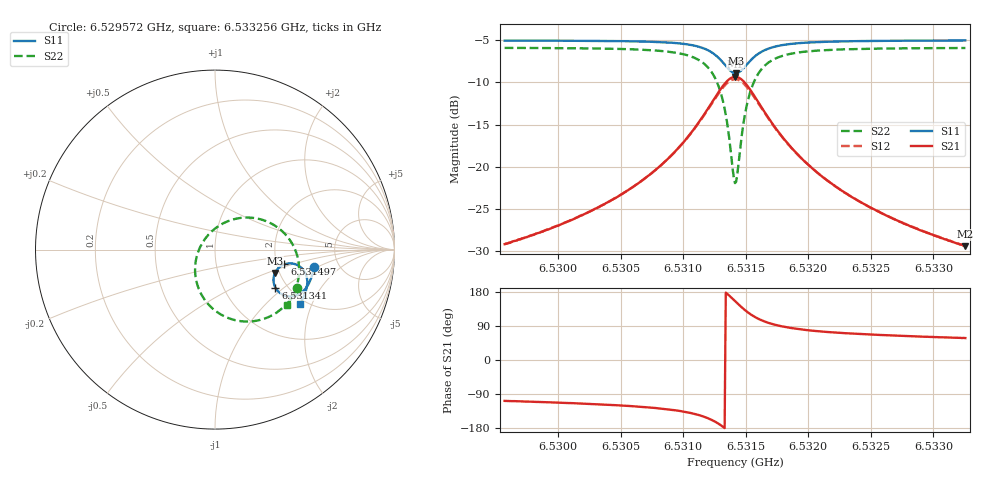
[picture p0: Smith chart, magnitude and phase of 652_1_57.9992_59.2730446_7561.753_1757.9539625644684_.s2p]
#  HZ  S  RI  R  50.00
! Rohde & Schwarz Vector Network Analyzer
! Rohde-Schwarz,ZNB20-2Port,1311601062101988,3.16
! Created: UTC 3/21/2024, 1:19:29 AM
! freq[Hz]  re:S11  im:S11  re:S21  im:S21  re:S12  im:S12  re:S22  im:S22
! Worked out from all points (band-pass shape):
!   401 points, 6.529572 GHz to 6.533256 GHz, reference 50 ohm
!   highest |S21| = -9.33 dB at 6.531414 GHz (marker M1); lowest = -29.5 dB at 6.533256 GHz (marker M2)
!   |S21| within 3 dB of the highest: 6.531232 GHz to 6.5316 GHz (368.4 kHz wide, 0.00564 % of centre)
!   lowest |S11| = -8.9 dB at 6.531424 GHz (marker M3), VSWR 2.12, Z = 94.6 - j28.3 ohm
!   |S11| at or under -10 dB: nowhere
!   |S22| runs from -22.0 to -5.9 dB; largest |S21 - S12| = 0.014
!   S11 on the Smith chart (normalised r, x): 6.529572 GHz: 3.25, -0.94; 6.531341 GHz: 1.74, -0.87; 6.531497 GHz: 2.21, -0.43; 6.533256 GHz: 1.84, -1.64
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6.5295724e9  0.5517 -0.099  -0.0106 -0.0329  -0.0113 -0.0327  0.459 -0.2164
6.5301895e9  0.5383 -0.1514  -0.0216 -0.0465  -0.0228 -0.0461  0.4228 -0.2749
6.530521e9  0.5254 -0.1833  -0.0351 -0.0599  -0.0368 -0.0589  0.3877 -0.3149
6.5308065e9  0.5057 -0.2157  -0.0607 -0.0788  -0.063 -0.077  0.3304 -0.359
6.5310276e9  0.4736 -0.2454  -0.1087 -0.099  -0.1116 -0.0948  0.2348 -0.3956
6.5311841e9  0.4228 -0.2611  -0.1877 -0.1005  -0.1894 -0.0922  0.092 -0.3876
6.5312762e9  0.3724 -0.2487  -0.2652 -0.0622  -0.2625 -0.0509  -0.034 -0.3078
6.5313131e9  0.3504 -0.231  -0.2973 -0.0258  -0.2911 -0.0143  -0.0806 -0.2407
6.5313407e9  0.3365 -0.2115  -0.3161 0.012  -0.3071 0.0224  -0.1042 -0.1743
6.5313959e9  0.3264 -0.1582  -0.322 0.1078  -0.3088 0.113  -0.0952 -0.0162
6.5314144e9  0.3306 -0.1392  -0.3113 0.1407  -0.2978 0.1436  -0.0715 0.0352
6.5314236e9  0.3341 -0.1302  -0.3034 0.1563  -0.2901 0.1579  -0.0559 0.0592
6.531442e9  0.344 -0.1135  -0.2836 0.1845  -0.271 0.1839  -0.0187 0.1013
6.5314604e9  0.3568 -0.0995  -0.2594 0.2077  -0.2479 0.2053  0.0251 0.1348
6.5314973e9  0.387 -0.0819  -0.2043 0.2367  -0.196 0.2323  0.12 0.1728
6.5315617e9  0.4374 -0.0786  -0.1167 0.2414  -0.1128 0.2371  0.2666 0.165
6.5316538e9  0.4822 -0.1022  -0.0409 0.2052  -0.0391 0.203  0.3891 0.0882
6.531792e9  0.5078 -0.1419  0.00364 0.1503  0.00505 0.1493  0.4542 -0.0211
6.5320314e9  0.514 -0.1893  0.0212 0.0954  0.0224 0.095  0.4682 -0.1325
6.5323169e9  0.5074 -0.2261  0.0229 0.0643  0.0239 0.0639  0.4553 -0.2026
6.5326485e9  0.496 -0.2583  0.0213 0.0455  0.0222 0.0452  0.4359 -0.2517
6.5332563e9  0.4717 -0.3054  0.0179 0.0285  0.0186 0.0283  0.4013 -0.3095
